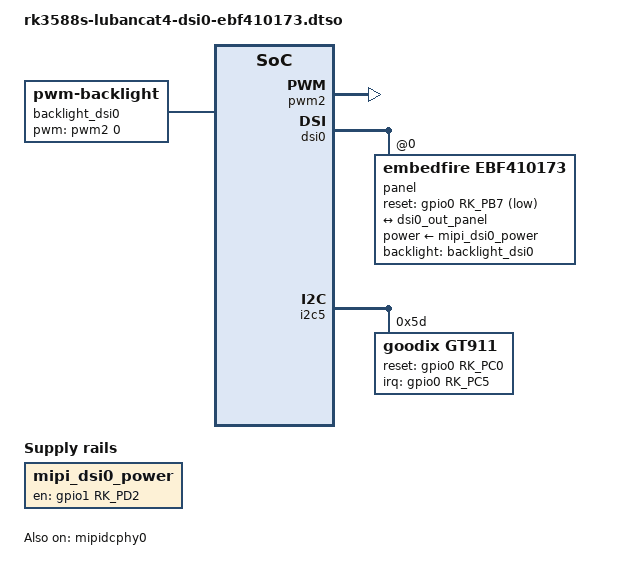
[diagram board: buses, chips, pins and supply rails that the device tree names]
/* SPDX-License-Identifier: (GPL-2.0+ OR MIT) */
/*
 * LubanCat-4: DSI0 on VP2 + EmbedFire EBF410173 7 inch 1024x600 panel + GT911 touch.
 *
 * Port of the vendor overlay
 *   rk3588s-lubancat-4-dsi0-vp2-1024x600-7inch-ebf410173-overlay.dts
 * from kernel-lbc-develop-6.1/arch/arm64/boot/dts/rockchip/overlay/.
 *
 * The panel is driven by the panel-embedfire-ebf410173 driver this kernel package adds;
 * the vendor needed no driver because its panel-simple read the power-on sequence out of
 * the device tree, which mainline cannot do. Everything else is the same wiring: the DSI
 * PHY and host, the video path VP2 -> DSI0, the PWM backlight on pwm2m0, the panel power
 * rail on gpio1 RK_PD2, and the touch controller on i2c5.
 *
 * Pins of the plain (non-V1) board revision: the vendor base tree rk3588s-lubancat-4.dts
 * puts the panel reset on gpio0 RK_PB7 and the touch reset on gpio0 RK_PC0. The pinctrl
 * groups in that same file for those two signals (dsi0_reset = gpio0 RK_PD7, tp1_irq =
 * gpio3 RK_PC4) do not match its own overlay, which is how you can tell the base copy is
 * the stale one: only in the V1 files do pinctrl and overlay agree. Use
 * rk3588s-lubancat4-dsi0-ebf410173-v1.dtso for the other revision.
 */

/dts-v1/;
/plugin/;

#include <dt-bindings/gpio/gpio.h>
#include <dt-bindings/interrupt-controller/irq.h>
#include <dt-bindings/pinctrl/rockchip.h>
#include <dt-bindings/soc/rockchip,vop2.h>

/*
 * Board level parts first: the panel node below points at both of these, and dtc has to
 * have seen a label before a phandle to it can become a symbol of this overlay.
 *
 * The power rail is a GPIO regulator on gpio1 RK_PD2, on in the vendor board dts with
 * regulator-boot-on / regulator-always-on, so the panel rail does not depend on the
 * panel driver probing.
 */
/ {
	/*
	 * These two are NEW nodes, not edits of existing ones, so they have to be wrapped in a
	 * fragment that names the root by path. Written plainly at the top level of a plugin, dtc
	 * keeps them as children of the overlay blob's own "/" -- check with
	 *     dtc -I dtb -O dts <something>.dtbo
	 * -- and an overlay applier only applies "__overlay__" subtrees, so the nodes are dropped
	 * silently while panel@0 keeps a backlight/power-supply phandle that points at nothing.
	 * That is not hypothetical: on the .dtbo these files replace, "pwm-backlight" appeared zero
	 * times in the tree produced by fdtoverlay, and the check that was supposed to catch this
	 * only counted how many lines the overlay patched (the dangling phandle is one of them).
	 *
	 * The applier on this board is U-Boot's libfdt: lib/libfdt/fdt_overlay.c is nothing but an
	 * #include of scripts/dtc/libfdt/fdt_overlay.c, that file reads "target-path" and resolves
	 * it with fdt_path_offset, and the u-boot binary this package builds contains the literal
	 * string "target-path" -- so targeting "/" is supported by the code that actually runs.
	 * rk3588s-lubancat4-xl9535.dtso already used this form for the same reason.
	 *
	 * fragment@100 is numbered by hand on purpose: the &label{} fragments in this file are
	 * numbered implicitly by dtc starting at 0, and a clash would be a confusing error.
	 */
	fragment@100 {
		target-path = "/";

		__overlay__ {
			mipi_dsi0_power: mipi-dsi0-power-regulator {
				compatible = "regulator-fixed";
				regulator-name = "mipi_dsi0_power";
				gpio = <&gpio1 RK_PD2 GPIO_ACTIVE_HIGH>;
				enable-active-high;
				regulator-boot-on;
				regulator-always-on;
			};

			/*
			 * 40 kHz PWM (period 25000 ns) and the vendor's 256 entry brightness ramp, taken
			 * verbatim from rk3588s-lubancat-4.dts rather than written from scratch.
			 */
			backlight_dsi0: backlight-dsi0 {
				compatible = "pwm-backlight";
				pwms = <&pwm2 0 25000 0>;
				brightness-levels = <0 20 20 21 21 22 22 23 23 24 24 25 25 26 26 27 27 28 28 29 29 30 30 31 31 32 32 33 33 34 34 35 35 36 36 37 37 38 38 39 40 41 42 43 44 45 46 47 48 49 50 51 52 53 54 55 56 57 58 59 60 61 62 63 64 65 66 67 68 69 70 71 72 73 74 75 76 77 78 79 80 81 82 83 84 85 86 87 88 89 90 91 92 93 94 95 96 97 98 99 100 101 102 103 104 105 106 107 108 109 110 111 112 113 114 115 116 117 118 119 120 121 122 123 124 125 126 127 128 129 130 131 132 133 134 135 136 137 138 139 140 141 142 143 144 145 146 147 148 149 150 151 152 153 154 155 156 157 158 159 160 161 162 163 164 165 166 167 168 169 170 171 172 173 174 175 176 177 178 179 180 181 182 183 184 185 186 187 188 189 190 191 192 193 194 195 196 197 198 199 200 201 202 203 204 205 206 207 208 209 210 211 212 213 214 215 216 217 218 219 220 221 222 223 224 225 226 227 228 229 230 231 232 233 234 235 236 237 238 239 240 241 242 243 244 245 246 247 248 249 250 251 252 253 254 255>;
				default-brightness-level = <200>;
			};
		};
	};
};

/*
 * The DSI PHY is disabled in rk3588-base.dtsi and no rk3588 board enables it for DSI0
 * yet, so without this fragment nothing on the lanes comes up at all.
 */
&mipidcphy0 {
	status = "okay";
};

&pwm2 {
	status = "okay";
	pinctrl-names = "default";
	pinctrl-0 = <&pwm2m0_pins>;
};

&dsi0 {
	status = "okay";
	#address-cells = <1>;
	#size-cells = <0>;

	panel@0 {
		compatible = "embedfire,ebf410173";
		reg = <0>;
		backlight = <&backlight_dsi0>;
		power-supply = <&mipi_dsi0_power>;
		reset-gpios = <&gpio0 RK_PB7 GPIO_ACTIVE_LOW>;

		port {
			mipi_panel_in: endpoint {
				remote-endpoint = <&dsi0_out_panel>;
			};
		};
	};
};

/*
 * Video path. The SoC tree leaves dsi0_in / dsi0_out and the VP outputs unconnected,
 * because which video plane feeds which output is a board choice; the shape is what
 * mainline boards such as rk3588s-gameforce-ace.dts use, with VP2 as the vendor picked
 * (its overlay file name says dsi0-vp2).
 */
&dsi0_in {
	dsi0_in_vp2: endpoint {
		remote-endpoint = <&vp2_out_dsi0>;
	};
};

&dsi0_out {
	dsi0_out_panel: endpoint {
		remote-endpoint = <&mipi_panel_in>;
	};
};

&vp2 {
	#address-cells = <1>;
	#size-cells = <0>;

	vp2_out_dsi0: endpoint@ROCKCHIP_VOP2_EP_MIPI0 {
		reg = <ROCKCHIP_VOP2_EP_MIPI0>;
		remote-endpoint = <&dsi0_in_vp2>;
	};
};

&i2c5 {
	status = "okay";
	#address-cells = <1>;
	#size-cells = <0>;
	pinctrl-names = "default";
	pinctrl-0 = <&i2c5m3_xfer>;

	gt911@5d {
		compatible = "goodix,gt911";
		reg = <0x5d>;
		interrupt-parent = <&gpio0>;
		interrupts = <RK_PC5 IRQ_TYPE_LEVEL_LOW>;
		/* Goodix drives logical 0 then 1; keep physical levels uninverted. */
		reset-gpios = <&gpio0 RK_PC0 GPIO_ACTIVE_HIGH>;
		irq-gpios = <&gpio0 RK_PC5 GPIO_ACTIVE_HIGH>;
		/* The vendor overlay wrote these as "= <1>"; the binding declares them
		 * boolean, so the flag form is the one dtc and the schema agree on. */
		touchscreen-inverted-x;
		touchscreen-inverted-y;
	};
};
